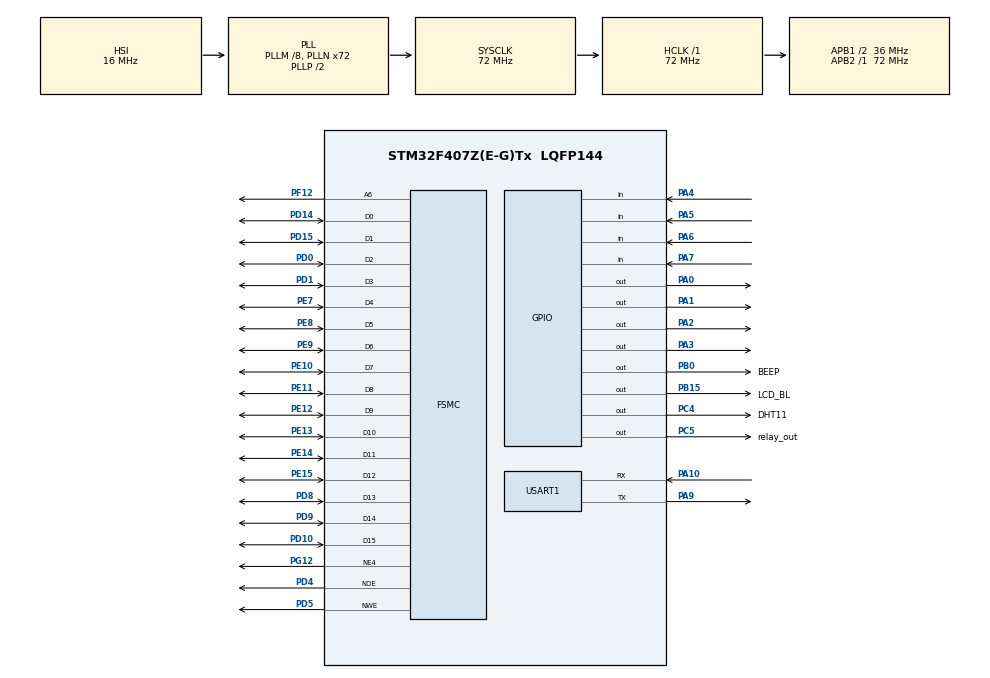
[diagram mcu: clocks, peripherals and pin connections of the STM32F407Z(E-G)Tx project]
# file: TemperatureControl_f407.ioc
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FSMC.BusTurnAroundDuration1=0
FSMC.DataSetupTime1=60
FSMC.ExtendedAddressSetupTime1=9
FSMC.ExtendedBusTurnAroundDuration1=0
FSMC.ExtendedDataSetupTime1=8
FSMC.ExtendedMode1=FSMC_EXTENDED_MODE_ENABLE
Mcu.Family=STM32F4
Mcu.Name=STM32F407Z(E-G)Tx
Mcu.Package=LQFP144
NVIC.PriorityGroup=NVIC_PRIORITYGROUP_4
PA0-WKUP.PinState=GPIO_PIN_RESET
PA0-WKUP.Signal=GPIO_Output
PA1.PinState=GPIO_PIN_RESET
PA1.Signal=GPIO_Output
PA10.Mode=Asynchronous
PA10.Signal=USART1_RX
PA13.Mode=Serial_Wire
PA13.Signal=SYS_JTMS-SWDIO
PA14.Mode=Serial_Wire
PA14.Signal=SYS_JTCK-SWCLK
PA2.PinState=GPIO_PIN_RESET
PA2.Signal=GPIO_Output
PA3.PinState=GPIO_PIN_RESET
PA3.Signal=GPIO_Output
PA4.GPIO_PuPd=GPIO_PULLUP
PA4.Signal=GPIO_Input
PA5.GPIO_PuPd=GPIO_PULLUP
PA5.Signal=GPIO_Input
PA6.GPIO_PuPd=GPIO_PULLUP
PA6.Signal=GPIO_Input
PA7.GPIO_PuPd=GPIO_PULLUP
PA7.Signal=GPIO_Input
PA9.Mode=Asynchronous
PA9.Signal=USART1_TX
PB0.GPIO_Label=BEEP
PB0.Signal=GPIO_Output
PB15.GPIO_Label=LCD_BL
PB15.GPIO_PuPd=GPIO_PULLUP
PB15.GPIO_Speed=GPIO_SPEED_FREQ_HIGH
PB15.Signal=GPIO_Output
PC14-OSC32_IN.Mode=LSE-External-Oscillator
PC14-OSC32_IN.Signal=RCC_OSC32_IN
PC15-OSC32_OUT.Mode=LSE-External-Oscillator
PC15-OSC32_OUT.Signal=RCC_OSC32_OUT
PC4.GPIO_Label=DHT11
PC4.Signal=GPIO_Output
PC5.GPIO_Label=relay_out
PC5.GPIO_PuPd=GPIO_PULLUP
PC5.Signal=GPIO_Output
PD0.Signal=FSMC_D2_DA2
PD1.Signal=FSMC_D3_DA3
PD10.Signal=FSMC_D15_DA15
PD14.Signal=FSMC_D0_DA0
PD15.Signal=FSMC_D1_DA1
PD4.Signal=FSMC_NOE
PD5.Signal=FSMC_NWE
PD8.Signal=FSMC_D13_DA13
PD9.Signal=FSMC_D14_DA14
PE10.Signal=FSMC_D7_DA7
PE11.Signal=FSMC_D8_DA8
PE12.Signal=FSMC_D9_DA9
PE13.Signal=FSMC_D10_DA10
PE14.Signal=FSMC_D11_DA11
PE15.Signal=FSMC_D12_DA12
PE7.Signal=FSMC_D4_DA4
PE8.Signal=FSMC_D5_DA5
PE9.Signal=FSMC_D6_DA6
PF12.Signal=FSMC_A6
PG12.Mode=NorPsramChipSelect4_1
PG12.Signal=FSMC_NE4
PH0-OSC_IN.Mode=HSE-External-Oscillator
PH0-OSC_IN.Signal=RCC_OSC_IN
PH1-OSC_OUT.Mode=HSE-External-Oscillator
PH1-OSC_OUT.Signal=RCC_OSC_OUT
ProjectManager.HeapSize=0x200
ProjectManager.StackSize=0x400
ProjectManager.TargetToolchain=MDK-ARM V5.32
RCC.48MHZClocksFreq_Value=36000000
RCC.AHBFreq_Value=72000000
RCC.APB1CLKDivider=RCC_HCLK_DIV2
RCC.APB1Freq_Value=36000000
RCC.APB1TimFreq_Value=72000000
RCC.APB2Freq_Value=72000000
RCC.APB2TimFreq_Value=72000000
RCC.CortexFreq_Value=72000000
RCC.HCLKFreq_Value=72000000
RCC.HSE_VALUE=25000000
RCC.HSI_VALUE=16000000
RCC.PLLM=8
RCC.PLLN=72
RCC.SYSCLKFreq_VALUE=72000000
RCC.SYSCLKSource=RCC_SYSCLKSOURCE_PLLCLK
RCC.VCOOutputFreq_Value=144000000
SH.FSMC_A6.0=FSMC_A6,A6_1
SH.FSMC_D0_DA0.0=FSMC_D0,16b-d1
SH.FSMC_D10_DA10.0=FSMC_D10,16b-d1
SH.FSMC_D11_DA11.0=FSMC_D11,16b-d1
SH.FSMC_D12_DA12.0=FSMC_D12,16b-d1
SH.FSMC_D13_DA13.0=FSMC_D13,16b-d1
SH.FSMC_D14_DA14.0=FSMC_D14,16b-d1
SH.FSMC_D15_DA15.0=FSMC_D15,16b-d1
SH.FSMC_D1_DA1.0=FSMC_D1,16b-d1
SH.FSMC_D2_DA2.0=FSMC_D2,16b-d1
SH.FSMC_D3_DA3.0=FSMC_D3,16b-d1
SH.FSMC_D4_DA4.0=FSMC_D4,16b-d1
SH.FSMC_D5_DA5.0=FSMC_D5,16b-d1
SH.FSMC_D6_DA6.0=FSMC_D6,16b-d1
SH.FSMC_D7_DA7.0=FSMC_D7,16b-d1
SH.FSMC_D8_DA8.0=FSMC_D8,16b-d1
SH.FSMC_D9_DA9.0=FSMC_D9,16b-d1
SH.FSMC_NOE.0=FSMC_NOE,Lcd1
SH.FSMC_NWE.0=FSMC_NWE,Lcd1
TIM2.Period=65535
TIM2.Prescaler=72-1
USART1.VirtualMode=VM_ASYNC
VP_TIM2_VS_ClockSourceINT.Mode=Internal
board=custom

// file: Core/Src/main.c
/* USER CODE BEGIN Header */
/**
  ******************************************************************************
  * @file           : main.c
  * @brief          : Main program body
  ******************************************************************************
  * @attention
  *
  * Copyright (c) 2024 STMicroelectronics.
  * All rights reserved.
  *
  * This software is licensed under terms that can be found in the LICENSE file
  * in the root directory of this software component.
  * If no LICENSE file comes with this software, it is provided AS-IS.
  *
  ******************************************************************************
  */
/* USER CODE END Header */
#include "main.h"
#include "tim.h"
#include "usart.h"
#include "gpio.h"
#include "fsmc.h"

/* USER CODE BEGIN Includes */
#include "keyboard.h"
#include "dht11.h"
#include "ILI93xx.h"
#include <stdio.h>
#include <string.h>
/* USER CODE END Includes */

/* USER CODE BEGIN PV */
char buffer[100];

float get_max_temperature(){
	uint8_t key = get_each_key();
	float sum = 0.0;
	float point = 1.0;
    if(key == 251){
	    while(1){
			uint8_t pre_key = key;
			key = get_each_key();
			if(key == 249)break;
			if (key <= 9 && key != pre_key){
			    sum = ((sum*10.0)+key)/point;
			}
			sprintf(buffer, "maxTemperature=%.1f", sum);
			LCD_Clear(WHITE);
		    LCD_ShowString(30,40,310,24,24, (uint8_t *)"input max temp");
		    LCD_ShowString(5,120,310,24,24, (uint8_t *)buffer);
			if (key == 254 && key != pre_key) {point = 10.0;}
			HAL_Delay(50);
		}
	}
	if(sum)return sum;
	else return 255;
}
/* USER CODE END PV */

void SystemClock_Config(void);

/* USER CODE BEGIN 0 */
int fputc(int ch,FILE *f)
{
    HAL_UART_Transmit(&huart1,(uint8_t *) &ch,1,HAL_MAX_DELAY);
    return ch;
}
int fgetc(FILE *f)
{
    uint8_t ch;
    HAL_UART_Receive(&huart1,(uint8_t *)&ch,1,HAL_MAX_DELAY);
    return ch;
}

/* USER CODE END 0 */

int main(void)
{
  /* USER CODE BEGIN 1 */
  uint16_t temperature;
  uint16_t humidity;
  float max_temperature = 99.9;
  uint8_t integer_part;
  uint8_t decimal_part;
  /* USER CODE END 1 */

  /* MCU Configuration--------------------------------------------------------*/

  /* Reset of all peripherals, Initializes the Flash interface and the Systick. */
  HAL_Init();

  /* Configure the system clock */
  SystemClock_Config();

  /* Initialize all configured peripherals */
  MX_GPIO_Init();
  MX_FSMC_Init();
  MX_TIM2_Init();
  MX_USART1_UART_Init();
  /* USER CODE BEGIN 2 */
  TFTLCD_Init();

//  while(DHT11_Init())
//  {
//    printf("DHT11 Checked failed!!!\r\n");
//    HAL_Delay(500);
//  }
    printf("DHT11 Checked Sucess!!!\r\n");
  /* USER CODE END 2 */

  /* Infinite loop */
  /* USER CODE BEGIN WHILE */
  while (1)
  {
	if(get_each_key() == 251)
	max_temperature = get_max_temperature();

	memset(buffer, 0, sizeof(buffer));
    sprintf(buffer, "maxTemperature=%.1f", max_temperature);
	LCD_Clear(WHITE);
	LCD_ShowString(5,40,310,24,24, (uint8_t *)buffer);
    printf("max temperature =%.1f \r\n",max_temperature);

	DHT11_Read_Data(&temperature,&humidity);
    printf("DHT11 Temperature = %d.%d degree\r\n",temperature>>8,temperature&0xff);
	integer_part = temperature >> 8;
	decimal_part = temperature & 0xff;
    float temp_float = integer_part + (decimal_part / 10.0);

    // 使用 sprintf 将浮点数格式化到字符串中
	memset(buffer, 0, sizeof(buffer));
    sprintf(buffer, "Temperature=%.1f", temp_float);
	LCD_ShowString(30,120,210,24,24, (uint8_t *)buffer);
    /* USER CODE END WHILE */

    /* USER CODE BEGIN 3 */
	if(temp_float >= max_temperature){
	  HAL_GPIO_WritePin(relay_out_GPIO_Port, relay_out_Pin, GPIO_PIN_SET);
	  HAL_GPIO_WritePin(BEEP_GPIO_Port, BEEP_Pin, GPIO_PIN_SET);
	}
	if(temp_float < max_temperature){
	  HAL_GPIO_WritePin(relay_out_GPIO_Port, relay_out_Pin, GPIO_PIN_RESET);
	  HAL_GPIO_WritePin(BEEP_GPIO_Port, BEEP_Pin, GPIO_PIN_RESET);
	}
	HAL_Delay(500);

  }
  /* USER CODE END 3 */
}

void SystemClock_Config(void)
{
  RCC_OscInitTypeDef RCC_OscInitStruct = {0};
  RCC_ClkInitTypeDef RCC_ClkInitStruct = {0};

  /** Configure the main internal regulator output voltage
  */
  __HAL_RCC_PWR_CLK_ENABLE();
  __HAL_PWR_VOLTAGESCALING_CONFIG(PWR_REGULATOR_VOLTAGE_SCALE1);

  /** Initializes the RCC Oscillators according to the specified parameters
  * in the RCC_OscInitTypeDef structure.
  */
  RCC_OscInitStruct.OscillatorType = RCC_OSCILLATORTYPE_HSI;
  RCC_OscInitStruct.HSIState = RCC_HSI_ON;
  RCC_OscInitStruct.HSICalibrationValue = RCC_HSICALIBRATION_DEFAULT;
  RCC_OscInitStruct.PLL.PLLState = RCC_PLL_ON;
  RCC_OscInitStruct.PLL.PLLSource = RCC_PLLSOURCE_HSI;
  RCC_OscInitStruct.PLL.PLLM = 8;
  RCC_OscInitStruct.PLL.PLLN = 72;
  RCC_OscInitStruct.PLL.PLLP = RCC_PLLP_DIV2;
  RCC_OscInitStruct.PLL.PLLQ = 4;
  if (HAL_RCC_OscConfig(&RCC_OscInitStruct) != HAL_OK)
  {
    Error_Handler();
  }

  /** Initializes the CPU, AHB and APB buses clocks
  */
  RCC_ClkInitStruct.ClockType = RCC_CLOCKTYPE_HCLK|RCC_CLOCKTYPE_SYSCLK
                              |RCC_CLOCKTYPE_PCLK1|RCC_CLOCKTYPE_PCLK2;
  RCC_ClkInitStruct.SYSCLKSource = RCC_SYSCLKSOURCE_PLLCLK;
  RCC_ClkInitStruct.AHBCLKDivider = RCC_SYSCLK_DIV1;
  RCC_ClkInitStruct.APB1CLKDivider = RCC_HCLK_DIV2;
  RCC_ClkInitStruct.APB2CLKDivider = RCC_HCLK_DIV1;

  if (HAL_RCC_ClockConfig(&RCC_ClkInitStruct, FLASH_LATENCY_2) != HAL_OK)
  {
    Error_Handler();
  }
}

void Error_Handler(void)
{
  __disable_irq();
  while (1)
  {
  }
}
